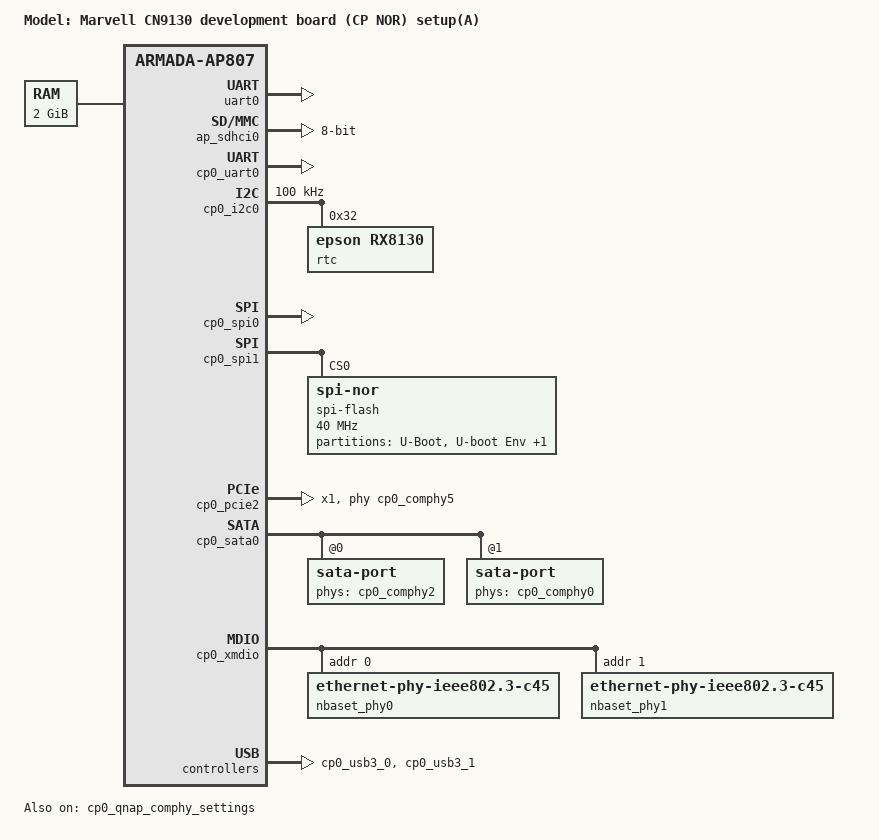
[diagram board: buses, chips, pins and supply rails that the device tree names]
/*
 * Copyright (C) 2018 Marvell International Ltd.
 *
 * SPDX-License-Identifier:    GPL-2.0
 * https://spdx.org/licenses
 */

#include "cn9130-db.dtsi"

/ {
	model = "Model: Marvell CN9130 development board (CP NOR) setup(A)";
	compatible = "marvell,cn9130-db-A", "marvell,armada-ap807-quad",
		     "marvell,armada-ap807";

	chosen {
		stdout-path = "serial0:115200n8";
	};

	aliases {
		i2c0 = &cp0_i2c0;
		ethernet0 = &cp0_eth0;
		ethernet1 = &cp0_eth1;
		ethernet2 = &cp0_eth2;
	};

	memory@00000000 {
		device_type = "memory";
		reg = <0x0 0x0 0x0 0x80000000>;
	};
};

&uart0 {
	status = "okay";
};

/* on-board eMMC - U9 */
&ap_sdhci0 {
	pinctrl-names = "default";
	bus-width = <8>;
	status = "okay";
	mmc-ddr-1_8v;
	mmc-hs400-1_8v;
/*	vqmmc-supply = <&ap0_reg_sd_vccq>;*/
};

&cp0_eth0 {
led-active = <92 1>; /* NUM Active_low */
led-link-10G = <93 1>;
led-link-1G = <94 1>;
/*
comphy_settings_num = <2>;
comphy_settings = <0x834 0x49D6>,
					<0xC40 0xF2BF>;
*/
};

&cp0_qnap_comphy_settings {
	status = "okay";
	comphy_settings = 
					/* SATA */
					<0xF2122844 0x4958>,
					<0xF2122C50 0xf0fe>,
					<0xF212283C 0x4958>,
					<0xF2122834 0x4958>,
					/* PCIE */
					<0xF2125844 0x0CF2>,
					/* HS-SGMII */
					<0xF2121834 0x48F2>;
					/* SFP */
					/* <0xF2124834 0x49D6>, */
					/* <0xF2124C40 0xF2BF>; */
};

&cp0_uart0 {
	status = "okay";
};

&cp0_rtc {
	status = "disabled";
};

&cp0_i2c0 {
	pinctrl-names = "default";
	pinctrl-0 = <&cp0_i2c0_pins>;
	status = "okay";
	clock-frequency = <100000>;
	rtc@32 {
		compatible = "epson,rx8130";
		reg = <0x32>;
		wakeup-source;
        trickle-diode-disable;
	};
};

&cp0_spi0 {
	status = "okay";
};

&cp0_spi1 {
	pinctrl-names = "default";
	pinctrl-0 = <&cp0_spi0_pins>;
	reg = <0x700680 0x50>,		/* control */
	      <0x2000000 0x1000000>;	/* CS0 */
	status = "okay";

	spi-flash@0 {
		#address-cells = <0x1>;
		#size-cells = <0x1>;
		compatible = "jedec,spi-nor";
		reg = <0x0>;
		/* On-board MUX does not allow higher frequencies */
		spi-max-frequency = <40000000>;

		partitions {
			compatible = "fixed-partitions";
			#address-cells = <1>;
			#size-cells = <1>;

			partition@0 {
				label = "U-Boot";
				reg = <0x0 0x3E0000>;
			};

			partition@3F0000 {
				label = "U-boot Env";
				reg = <0x3F0000 0x10000>;
			};

			partition@400000 {
				label = "ALL partition";
				reg = <0x0 0x400000>;
			};
		};
	};
};

&cp0_pcie2 {
	status = "okay";
	num-lanes = <1>;
	num-viewport = <8>;
	/* Generic PHY, providing serdes lanes */
	phys = <&cp0_comphy5 2>;
};

&cp0_sata0 {
	status = "okay";
	sata-port@0 {
		status = "okay";
		phys = <&cp0_comphy2 0>;
	};
	sata-port@1 {
		status = "okay";
		phys = <&cp0_comphy0 1>;
	};
};

&cp0_xmdio {
	status = "okay";
	nbaset_phy0: ethernet-phy@0 {
		compatible = "ethernet-phy-ieee802.3-c45";
		reg = <0>;
	};
	nbaset_phy1: ethernet-phy@1 {
		compatible = "ethernet-phy-ieee802.3-c45";
		reg = <1>;
	};
};



&cp0_usb3_0 {
	status = "okay";
	/*
	usb-phy = <&cp0_usb3_0_phy0>;
	phy-names = "usb";
	*/
};

&cp0_usb3_1 {
	status = "okay";
	/*
	usb-phy = <&cp0_usb3_0_phy1>;
	phy-names = "usb";
	*/
};

